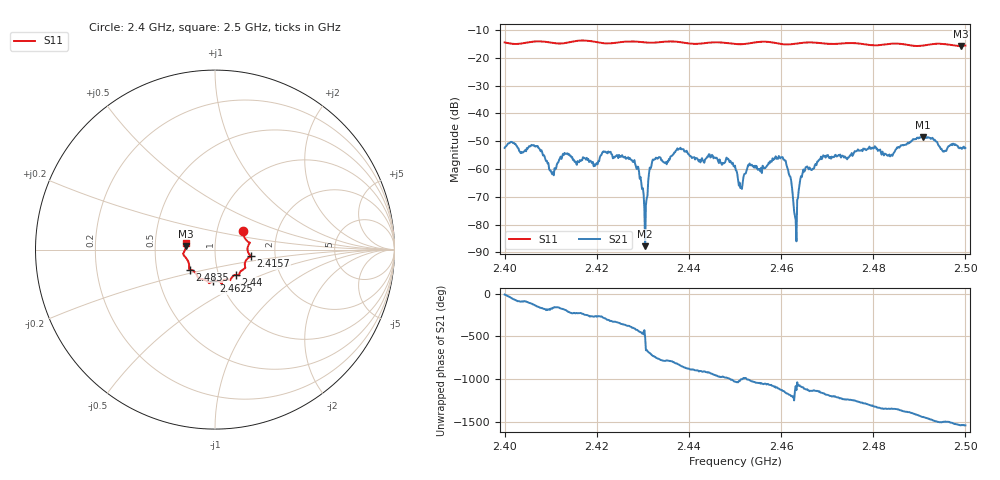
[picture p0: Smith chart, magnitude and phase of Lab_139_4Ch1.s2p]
# Hz S RI R 50
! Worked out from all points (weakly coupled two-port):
!   601 points, 2.4 GHz to 2.5 GHz, reference 50 ohm
!   highest |S21| = -48.49 dB at 2.4908 GHz (marker M1); lowest = -87.8 dB at 2.4305 GHz (marker M2)
!   lowest |S11| = -15.7 dB at 2.499 GHz (marker M3), VSWR 1.39, Z = 36 + j1.48 ohm
!   |S11| at or under -10 dB: start of sweep to end of sweep
!   S12 and S22 are empty: the file has one direction only
!   S11 on the Smith chart (normalised r, x): 2.4 GHz: 1.34, +0.29; 2.4157 GHz: 1.49, -0.11; 2.44 GHz: 1.21, -0.35; 2.4625 GHz: 0.92, -0.34; 2.4835 GHz: 0.74, -0.17; 2.5 GHz: 0.72, +0.05
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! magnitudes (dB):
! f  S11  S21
! 2.4 GHz  -14.5  -52.4
! 2.4068 GHz  -14.1  -51.7
! 2.4102 GHz  -14.6  -61.3
! 2.4157 GHz  -13.9  -58.5
! 2.4167 GHz  -13.7  -56.9
! 2.4277 GHz  -14.1  -56.9
! 2.4305 GHz  -14.5  -87.8
! 2.4318 GHz  -14.6  -59.1
! 2.4333 GHz  -14.4  -56.1
! 2.44 GHz  -14.8  -54.7
! 2.45 GHz  -15.0  -58.8
! 2.4512 GHz  -15.1  -66.8
! 2.46 GHz  -15.0  -55.8
! 2.4625 GHz  -15.0  -68.8
! 2.4632 GHz  -14.9  -78.4
! 2.4645 GHz  -14.6  -62.9
! 2.4667 GHz  -14.4  -60.4
! 2.4833 GHz  -15.0  -55.1
! 2.4835 GHz  -15.0  -54.8
! 2.4908 GHz  -15.6  -48.5
! 2.499 GHz  -15.7  -52.4
! 2.5 GHz  -15.6  -52.4
